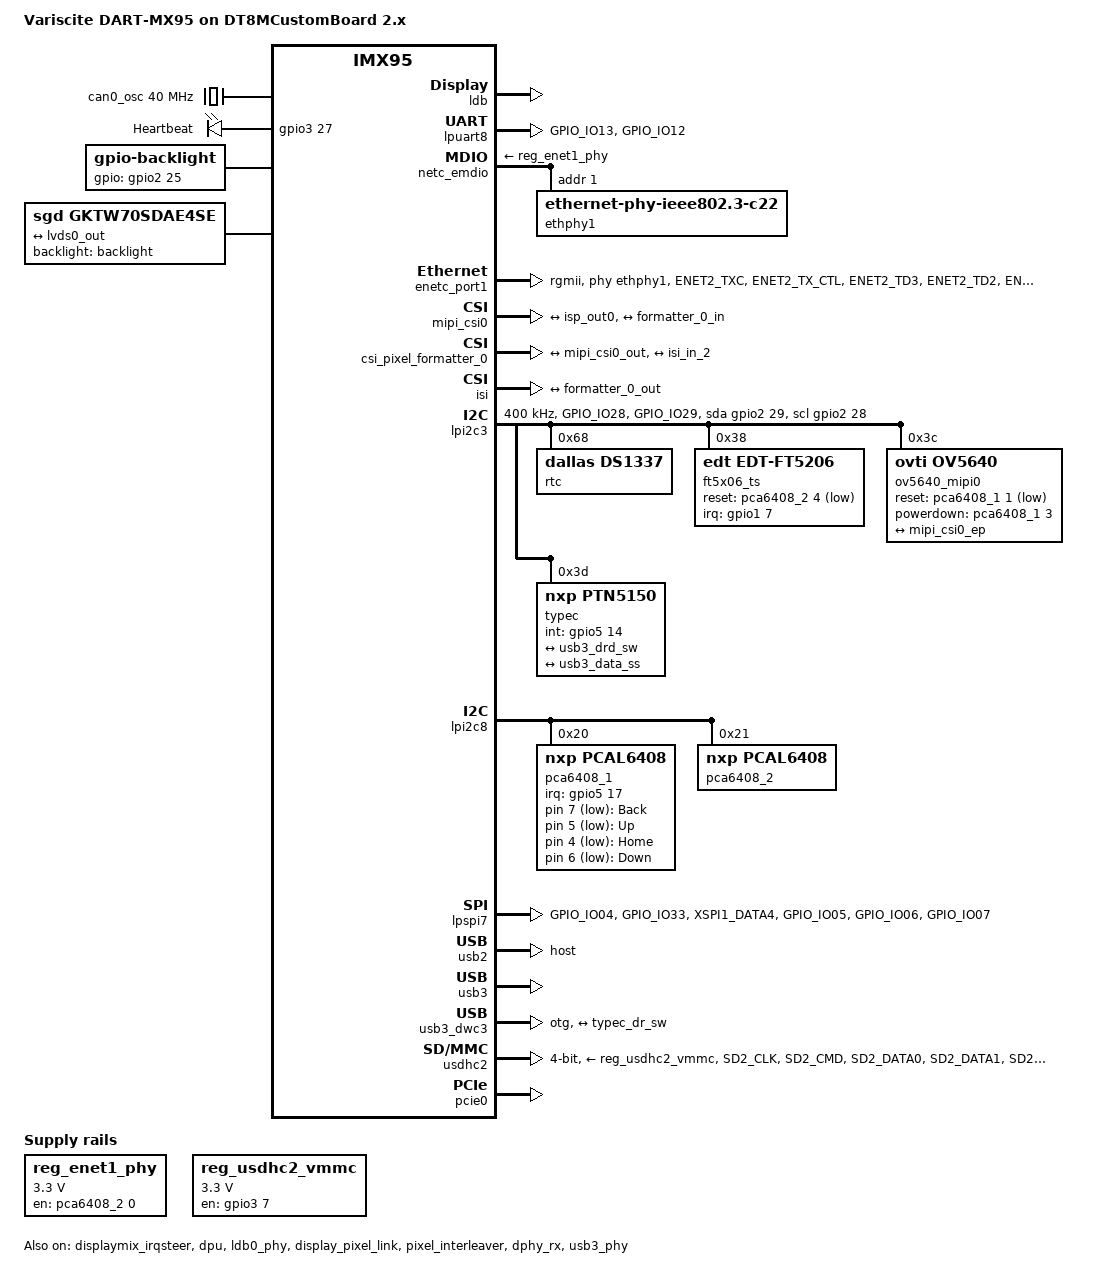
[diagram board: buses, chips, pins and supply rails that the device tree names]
// SPDX-License-Identifier: (GPL-2.0+ OR MIT)
/*
 * Copyright 2019 NXP
 * Copyright 2020-2021 Variscite Ltd.
 */

#include <dt-bindings/clock/fsl,imx95-clock.h>
#include "imx95-var-dart.dtsi"

/ {
	model = "Variscite DART-MX95 on DT8MCustomBoard 2.x";

	aliases {
		ethernet0 = &enetc_port0;
		ethernet1 = &enetc_port1;
	};

	chosen {
		stdout-path = &lpuart1;
	};

	clk_ov5640_fixed: clock {
		#clock-cells = <0>;
		compatible = "fixed-clock";
		clock-frequency = <24000000>;
	};

	can0_osc: can0_osc {
		compatible = "fixed-clock";
		#clock-cells = <0>;
		clock-frequency = <40000000>;
	};

	gpio-keys {
		compatible = "gpio-keys";
		status = "okay";

		back {
			label = "Back";
			linux,code = <KEY_BACK>;
			gpios = <&pca6408_1 7 GPIO_ACTIVE_LOW>;
			wakeup-source;
		};

		up {
			label = "Up";
			linux,code = <KEY_UP>;
			gpios = <&pca6408_1 5 GPIO_ACTIVE_LOW>;
			wakeup-source;
		};

		home {
			label = "Home";
			linux,code = <KEY_HOME>;
			gpios = <&pca6408_1 4 GPIO_ACTIVE_LOW>;
			wakeup-source;
		};

		down {
			label = "Down";
			linux,code = <KEY_DOWN>;
			gpios = <&pca6408_1 6 GPIO_ACTIVE_LOW>;
			wakeup-source;
		};
	};
#if 1
	gpio-leds {
		compatible = "gpio-leds";
		pinctrl-names = "default";
		pinctrl-0 = <&pinctrl_gpio_leds>;
		status = "okay";

		heartbeat {
			label = "Heartbeat";
			gpios = <&gpio3 27 GPIO_ACTIVE_HIGH>;
			linux,default-trigger = "heartbeat";
		};
	};
#else
	gpio-leds {
		compatible = "gpio-leds";
		pinctrl-names = "default";
		pinctrl-0 = <&pinctrl_captouch>;
		status = "okay";

		gpio1_io6 {
			label = "gpio1_io6";
			gpios = <&gpio1 6 GPIO_ACTIVE_LOW>;
			linux,default-trigger = "heartbeat";
		};
	};
#endif

	backlight: backlight {
		pinctrl-names = "default";
		pinctrl-0 = <&pinctrl_gpio_backlight>;
		compatible = "gpio-backlight";
		gpios = <&gpio2 25 GPIO_ACTIVE_HIGH>;
		default-on;
	};

	panel {
		compatible = "sgd,gktw70sdae4se", "panel-lvds";
		backlight = <&backlight>;
		width-mm = <153>;
		height-mm = <87>;
		label = "gktw70sdae4se";
		data-mapping = "jeida-24";
		status = "okay";

		panel-timing {
			clock-frequency = <74250000>;
			hactive = <800>;
			vactive = <480>;
			hback-porch = <40>;
			hfront-porch = <40>;
			vback-porch = <29>;
			vfront-porch = <13>;
			hsync-len = <48>;
			vsync-len = <3>;
			hsync-active = <0>;
			vsync-active = <0>;
			de-active = <1>;
		};
		port {
			panel_in: endpoint {
				remote-endpoint = <&lvds0_out>;
			};
		};
	};

	reg_enet1_phy: regulator-enet1-phy {
		compatible = "regulator-fixed";
		regulator-name = "enet1-phy";
		regulator-min-microvolt = <3300000>;
		regulator-max-microvolt = <3300000>;
		gpio = <&pca6408_2 0 GPIO_ACTIVE_HIGH>;
		enable-active-high;
		status = "okay";
	};

	reg_usdhc2_vmmc: regulator-usdhc2 {
		compatible = "regulator-fixed";
		pinctrl-names = "default";
		pinctrl-0 = <&pinctrl_reg_usdhc2_vmmc>;
		regulator-name = "VDD_SD2_3V3";
		regulator-min-microvolt = <3300000>;
		regulator-max-microvolt = <3300000>;
		gpio = <&gpio3 7 GPIO_ACTIVE_HIGH>;
		off-on-delay-us = <12000>;
		enable-active-high;
	};
};

&displaymix_irqsteer {
	status = "okay";
};

&dpu {
	status = "okay";
};

&ldb0_phy {
	status = "okay";
};

&display_pixel_link {
	status = "okay";
};

&ldb {
	#address-cells = <1>;
	#size-cells = <0>;
	assigned-clocks = <&scmi_clk IMX95_CLK_LDBPLL_VCO>,
			  <&scmi_clk IMX95_CLK_LDBPLL>;
	assigned-clock-rates = <4158000000>, <519750000>;
	status = "okay";

	channel@0 {
		#address-cells = <1>;
		#size-cells = <0>;
		status = "okay";
		reg = <0>;

		port@1 {
			reg = <1>;

			lvds0_out: endpoint {
				remote-endpoint = <&panel_in>;
			};
		};
	};
};

/* Header (J12.11, J12.13) */
&lpuart3 {
	pinctrl-names = "default";
	pinctrl-0 = <&pinctrl_uart3>;
	status = "disabled";
};

/* Header (J12.4, J12.6) */
&lpuart8 {
	pinctrl-names = "default";
	pinctrl-0 = <&pinctrl_uart8>;
	status = "okay";
};

&pixel_interleaver {
	#address-cells = <1>;
	#size-cells = <0>;
	status = "okay";

	channel@0 {
		reg = <0>;
		status = "okay";
	};
};

&netc_emdio {
	phy-supply = <&reg_enet1_phy>;
	status = "okay";

	ethphy1: ethernet-phy@1 {
		compatible = "ethernet-phy-ieee802.3-c22";
		eee-broken-1000t;
		reg = <1>;
	};
};

&enetc_port1 {
	pinctrl-names = "default";
	pinctrl-0 = <&pinctrl_enetc1>;
	phy-handle = <&ethphy1>;
	phy-mode = "rgmii";
	status = "okay";
};

/*
[    7.849497] scmi-pinctrl scmi_dev.6: pin_config_set op failed for pin 121
[    7.875350] clk: failed to reparent can1 to syspll1_pfd1_di: -13
Pin conflict with Cortex-M33 domain
Further investigations needed in the System Manager firmware
*/
&flexcan1 {
	pinctrl-names = "default";
	pinctrl-0 = <&pinctrl_flexcan1>;
	status = "disabled";
};

&dphy_rx {
	status = "okay";
};

&mipi_csi0 {
	status = "okay";

	ports {
		#address-cells = <1>;
		#size-cells = <0>;

		port@0 {
			reg = <0>;
			mipi_csi0_ep: endpoint {
				remote-endpoint = <&isp_out0>;
				data-lanes = <1 2 3 4>;
				clock-lanes = <0>;
			};
		};

		port@1 {
			reg = <1>;
				mipi_csi0_out: endpoint {
				remote-endpoint = <&formatter_0_in>;
			};
		};
	};
};

&csi_pixel_formatter_0 {
	status = "okay";

	ports {
		#address-cells = <1>;
		#size-cells = <0>;

		port@0 {
			reg = <0>;

			formatter_0_in: endpoint {
				remote-endpoint = <&mipi_csi0_out>;
			};
		};

		port@1 {
			reg = <1>;

			formatter_0_out: endpoint {
				remote-endpoint = <&isi_in_2>;
			};
		};
	};
};


&isi {
	status = "okay";

	ports {
		#address-cells = <1>;
		#size-cells = <0>;

		port@2 {
			reg = <2>;

			isi_in_2: endpoint {
				remote-endpoint = <&formatter_0_out>;
			};
		};
	};
};

&lpi2c3 {
	#address-cells = <1>;
	#size-cells = <0>;
	clock-frequency = <400000>;
	pinctrl-names = "default", "gpio", "sleep";
	pinctrl-0 = <&pinctrl_lpi2c3>;
	pinctrl-1 = <&pinctrl_lpi2c3_gpio>;
	pinctrl-2 = <&pinctrl_lpi2c3_gpio>;
	scl-gpios = <&gpio2 28 GPIO_ACTIVE_HIGH>;
	sda-gpios = <&gpio2 29 GPIO_ACTIVE_HIGH>;
	status = "okay";

	/* DS1337 RTC module */
	rtc@68 {
		compatible = "dallas,ds1337";
		reg = <0x68>;
		status = "okay";
	};

	/* Capacitive touch controller */
	ft5x06_ts: ft5x06_ts@38 {
		compatible = "edt,edt-ft5206";
		reg = <0x38>;
		reset-gpios = <&pca6408_2 4 GPIO_ACTIVE_LOW>;

#if 1
		pinctrl-names = "default";
		pinctrl-0 = <&pinctrl_captouch>;
		interrupt-parent = <&gpio1>;
		interrupts = <7 IRQ_TYPE_EDGE_FALLING>;
#endif
		touchscreen-size-x = <800>;
		touchscreen-size-y = <480>;
		touchscreen-inverted-x;
		touchscreen-inverted-y;
		wakeup-source;
		/*poll-interval = <20>;*/
		status = "okay";
	};

	ov5640_mipi0: ov5640_mipi0@3c {
		compatible = "ovti,ov5640";
		reg = <0x3c>;
		clocks = <&clk_ov5640_fixed>;
		clock-names = "xclk";
		assigned-clock-rates = <24000000>;
		csi_id = <0>;
		reset-gpios = <&pca6408_1 1 GPIO_ACTIVE_LOW>;
		powerdown-gpios = <&pca6408_1 3 GPIO_ACTIVE_HIGH>;
		mclk = <24000000>;
		mclk_source = <0>;
		mipi_csi;
		status = "okay";
#if 0
		ports {
			#address-cells = <1>;
			#size-cells = <0>;

			port@0 {
				reg = <0>;
			};

			port@1 {
				reg = <1>;
			};

			port@2 {
				reg = <2>;
				isp_out0: endpoint {
					remote-endpoint = <&mipi_csi0_ep>;
					data-lanes = <1 2>;
				};
			};
		};
#else

		port {
			isp_out0: endpoint {
				remote-endpoint = <&mipi_csi0_ep>;
				data-lanes = <1 2>;
				clock-lanes = <0>;
			};
		};
#endif
	};

	typec@3d {
		compatible = "nxp,ptn5150";
		pinctrl-names = "default";
		pinctrl-0 = <&pinctrl_ptn5150>;
		reg = <0x3d>;
		int-gpios =<&gpio5 14 GPIO_ACTIVE_HIGH>;
		irq-is-id-quirk;
		status ="okay";

		port {
			typec_dr_sw: endpoint {
				remote-endpoint = <&usb3_drd_sw>;
			};
		};

		typec_con: connector {
			compatible = "usb-c-connector";
			label = "USB-C";
			power-role = "dual";
			data-role = "dual";
			try-power-role = "sink";
			source-pdos = <PDO_FIXED(5000, 3000, PDO_FIXED_USB_COMM)>;
			sink-pdos = <PDO_FIXED(5000, 3000, PDO_FIXED_USB_COMM)
				     PDO_VAR(5000, 20000, 3000)>;
			op-sink-microwatt = <15000000>;
			self-powered;

			ports {
				#address-cells = <1>;
				#size-cells = <0>;

				port@1 {
					reg = <1>;
					typec_con_ss: endpoint {
						remote-endpoint = <&usb3_data_ss>;
					};
				};
			};
		};
	};
};

#if 0
&mipi_csi1 {
	status = "okay";

	ports {
		#address-cells = <1>;
		#size-cells = <0>;

		port@0 {
			reg = <0>;
			mipi_csi1_ep: endpoint {
				remote-endpoint = <&isp_out1>;
				data-lanes = <1 2>;
				clock-lanes = <0>;
			};
		};

		port@1 {
			reg = <1>;
				mipi_csi1_out: endpoint {
				remote-endpoint = <&isi_in_3>;
			};
		};
	};
};
#endif

&lpi2c8 {
	pca6408_1: gpio@20 {
		compatible = "nxp,pcal6408";
		standard-regs-fallback;
		reg = <0x20>;
		gpio-controller;
		#gpio-cells = <2>;
		pinctrl-names = "default";
		pinctrl-0 = <&pinctrl_pca6408>;
		interrupt-parent = <&gpio5>;
		interrupts = <17 IRQ_TYPE_EDGE_FALLING>;
	};

	pca6408_2: gpio@21 {
		compatible = "nxp,pcal6408";
		standard-regs-fallback;
		reg = <0x21>;
		gpio-controller;
		#gpio-cells = <2>;
	};
#if 0
	ov5640_mipi1: ov5640_mipi1@3c {
		compatible = "ovti,ov5640";
		reg = <0x3c>;
		clocks = <&clk_ov5640_fixed>;
		clock-names = "xclk";
		assigned-clock-rates = <24000000>;
		powerdown-gpios = <&pca6408_1 2 GPIO_ACTIVE_HIGH>;
		reset-gpios = <&pca6408_1 0 GPIO_ACTIVE_LOW>;
		status = "okay";

		ports {
			#address-cells = <1>;
			#size-cells = <0>;

			port@0 {
				reg = <0>;
			};

			port@1 {
				reg = <1>;
			};

			port@2 {
				reg = <2>;
				isp_out1: endpoint {
					remote-endpoint = <&mipi_csi1_ep>;
					data-lanes = <1 2>;
				};
			};
		};
	};
#endif
};
#if 0
&lpspi7 {
	fsl,spi-num-chipselects = <3>;
	pinctrl-names = "default", "sleep";
	pinctrl-0 = <&pinctrl_lpspi7>;
	pinctrl-1 = <&pinctrl_lpspi7>;
	cs-gpios = <&gpio2 14 GPIO_ACTIVE_LOW>,
		   <&gpio5 13 GPIO_ACTIVE_LOW>,
		   <&gpio5 4 GPIO_ACTIVE_LOW>;
	status = "okay";

	/* Resistive touch controller */
	ads7846@0 {
		compatible = "ti,ads7846";
		reg = <0>;
		pinctrl-names = "default";
		pinctrl-0 = <&pinctrl_restouch>;
		interrupt-parent = <&gpio2>;
		interrupts = <24 IRQ_TYPE_EDGE_FALLING>;
		spi-max-frequency = <1500000>;
		pendown-gpio = <&gpio2 24 GPIO_ACTIVE_LOW>;
		ti,x-min = /bits/ 16 <125>;
		ti,x-max = /bits/ 16 <4008>;
		ti,y-min = /bits/ 16 <282>;
		ti,y-max = /bits/ 16 <3864>;
		ti,x-plate-ohms = /bits/ 16 <180>;
		ti,pressure-max = /bits/ 16 <255>;
		ti,debounce-max = /bits/ 16 <10>;
		ti,debounce-tol = /bits/ 16 <3>;
		ti,debounce-rep = /bits/ 16 <1>;
		ti,settle-delay-usec = /bits/ 16 <150>;
		ti,keep-vref-on;
		wakeup-source;
		status = "okay";
	};

	can0: can@1 {
		compatible = "microchip,mcp251xfd";
		reg = <1>;
		pinctrl-names = "default";
		pinctrl-0 = <&pinctrl_can>;
		interrupts-extended = <&gpio5 15 IRQ_TYPE_LEVEL_LOW>;
		microchip,rx-int-gpios = <&gpio2 22 GPIO_ACTIVE_LOW>;
		clocks = <&can0_osc>;
/*
with spi-max-frequency = <20000000>;
[    7.970256] fsl_lpspi 42710000.spi: per-clk should be at least two times of transfer speed
[    7.981592] mcp251xfd spi0.1: SPI transfer failed: -22
[    7.998281] fsl_lpspi 42710000.spi: per-clk should be at least two times of transfer speed
[    7.998298] mcp251xfd spi0.1: SPI transfer failed: -22
[    7.998336] mcp251xfd spi0.1: error -EINVAL: Failed to detect MCP251xFD.
[    8.048280] mcp251xfd: probe of spi0.1 failed with error -22

root@imx95-var-dart:~# cat /sys/kernel/debug/clk/clk_summary | grep lpspi
    lpspi4                            0        0        0    50000000          0     0  50000         Y
    lpspi3                            0        0        0    50000000          0     0  50000         Y
    lpspi2                            0        0        0    50000000          0     0  50000         Y
    lpspi1                            0        0        0    50000000          0     0  50000         Y
    lpspi8                            0        0        0    24000000          0     0  50000         Y
    lpspi7                            0        0        0    24000000          0     0  50000         Y
    lpspi6                            0        0        0    24000000          0     0  50000         Y
    lpspi5                            0        0        0    24000000          0     0  50000         Y

*/
		spi-max-frequency = <12000000>;
		status = "okay";
	};

	spidev0: spi@2 {
		reg = <2>;
		compatible = "lwn,bk4";
		spi-max-frequency = <1000000>;
	};
};
#else
&lpspi7 {
	fsl,spi-num-chipselects = <1>;
	pinctrl-names = "default";
	pinctrl-0 = <&pinctrl_lpspi7>;
	cs-gpios = <&gpio5 4 GPIO_ACTIVE_LOW>;	/*the other cs gpio make kernel hangs!*/
	status = "okay";
};
#endif

&usb2 {
	dr_mode = "host";
	hnp-disable;
	srp-disable;
	adp-disable;
	disable-over-current;
	status = "okay";
};

&usb3 {
	status = "okay";
};

&usb3_phy {
	status = "okay";

	lane-swapp-disable-quirk;
	port {
		usb3_data_ss: endpoint {
			remote-endpoint = <&typec_con_ss>;
		};
	};
};

&usb3_dwc3 {
	dr_mode = "otg";
	hnp-disable;
	srp-disable;
	adp-disable;
	usb-role-switch;
	role-switch-default-mode = "none";
	snps,dis-u1-entry-quirk;
	snps,dis-u2-entry-quirk;
	status = "okay";

	port {
		usb3_drd_sw: endpoint {
			remote-endpoint = <&typec_dr_sw>;
		};
	};
};

&scmi_iomuxc {
	pinctrl_captouch: captouchgrp {
		fsl,pins = <
			IMX95_PAD_UART2_TXD__AONMIX_TOP_GPIO1_IO_BIT7		0x31e
			IMX95_PAD_UART2_RXD__AONMIX_TOP_GPIO1_IO_BIT6		0x31e
		>;
	};

	pinctrl_can: cangrp {
		fsl,pins = <
			IMX95_PAD_GPIO_IO35__GPIO5_IO_BIT15			0x31e
			IMX95_PAD_GPIO_IO22__GPIO2_IO_BIT22			0x31e
		>;
	};

	pinctrl_lpi2c3: lpi2c3grp {
		fsl,pins = <
			IMX95_PAD_GPIO_IO28__LPI2C3_SDA			0x40000b9e
			IMX95_PAD_GPIO_IO29__LPI2C3_SCL			0x40000b9e
		>;
	};

	pinctrl_lpi2c3_gpio: lpi2c3grp-gpio {
		fsl,pins = <
			IMX95_PAD_GPIO_IO28__GPIO2_IO_BIT28		0x31e
			IMX95_PAD_GPIO_IO29__GPIO2_IO_BIT29		0x31e
		>;
	};

	pinctrl_lpspi7: lpspi7grp {
		fsl,pins = <
			IMX95_PAD_GPIO_IO04__GPIO2_IO_BIT4		0x3fe		/* j16.4 ADS7846 */
			IMX95_PAD_GPIO_IO33__GPIO5_IO_BIT13		0x3fe		/* j14.4 MCP2518FDT */
			IMX95_PAD_XSPI1_DATA4__GPIO5_IO_BIT4		0x3fe		/* j25.2 spidev */
			/*
			ADC_IN4 pin pin 30 J3 DART-MX95 
			*/
			IMX95_PAD_GPIO_IO05__LPSPI7_SIN		0x3fe
			IMX95_PAD_GPIO_IO06__LPSPI7_SOUT	0x3fe
			IMX95_PAD_GPIO_IO07__LPSPI7_SCK		0x3fe
		>;
	};

	pinctrl_enetc1: enetc1grp {
		fsl,pins = <
			IMX95_PAD_ENET2_TXC__NETCMIX_TOP_ETH1_RGMII_TX_CLK	0x57e
			IMX95_PAD_ENET2_TX_CTL__NETCMIX_TOP_ETH1_RGMII_TX_CTL	0x57e
			IMX95_PAD_ENET2_TD3__NETCMIX_TOP_ETH1_RGMII_TD3		0x57e
			IMX95_PAD_ENET2_TD2__NETCMIX_TOP_ETH1_RGMII_TD2		0x57e
			IMX95_PAD_ENET2_TD1__NETCMIX_TOP_ETH1_RGMII_TD1		0x57e
			IMX95_PAD_ENET2_TD0__NETCMIX_TOP_ETH1_RGMII_TD0		0x57e
			IMX95_PAD_ENET2_RXC__NETCMIX_TOP_ETH1_RGMII_RX_CLK	0x57e
			IMX95_PAD_ENET2_RX_CTL__NETCMIX_TOP_ETH1_RGMII_RX_CTL	0x57e
			IMX95_PAD_ENET2_RD0__NETCMIX_TOP_ETH1_RGMII_RD0		0x57e
			IMX95_PAD_ENET2_RD1__NETCMIX_TOP_ETH1_RGMII_RD1		0x57e
			IMX95_PAD_ENET2_RD2__NETCMIX_TOP_ETH1_RGMII_RD2		0x57e
			IMX95_PAD_ENET2_RD3__NETCMIX_TOP_ETH1_RGMII_RD3		0x57e
		>;
	};

	pinctrl_flexcan1: flexcan1grp {
		fsl,pins = <
			IMX95_PAD_PDM_CLK__AONMIX_TOP_CAN1_TX		0x39e
			IMX95_PAD_PDM_BIT_STREAM0__AONMIX_TOP_CAN1_RX	0x39e
		>;
	};

	pinctrl_pca6408: pca6408grp {
		fsl,pins = <
			IMX95_PAD_GPIO_IO37__GPIO5_IO_BIT17			0x31e
		>;
	};

	pinctrl_gpio_leds: ledgrp {
		fsl,pins = <
			IMX95_PAD_CCM_CLKO2__GPIO3_IO_BIT27			0x31e
		>;
	};

	pinctrl_gpio_backlight: backlightgrp {
		fsl,pins = <
			IMX95_PAD_GPIO_IO25__GPIO2_IO_BIT25			0x31e
		>;
	};
	pinctrl_reg_usdhc2_vmmc: regusdhc2vmmcgrp {
		fsl,pins = <
			IMX95_PAD_SD2_RESET_B__GPIO3_IO_BIT7			0x31e
		>;
	};

	pinctrl_restouch: restouchgrp {
		fsl,pins = <
			IMX95_PAD_GPIO_IO24__GPIO2_IO_BIT24			0x31e
		>;
	};

	pinctrl_uart3: uart3grp {
		fsl,pins = <
			IMX95_PAD_GPIO_IO15__LPUART3_RX			0x31e
			IMX95_PAD_GPIO_IO14__LPUART3_TX			0x31e
		>;
	};

	pinctrl_uart8: uart8grp {
		fsl,pins = <
			IMX95_PAD_GPIO_IO13__LPUART8_RX			0x31e
			IMX95_PAD_GPIO_IO12__LPUART8_TX			0x31e
		>;
	};

	pinctrl_usdhc2_gpio: usdhc2gpiogrp {
		fsl,pins = <
			IMX95_PAD_SD2_CD_B__GPIO3_IO_BIT0			0x31e
		>;
	};

	pinctrl_usdhc2: usdhc2grp {
		fsl,pins = <
			IMX95_PAD_SD2_CLK__USDHC2_CLK				0x158e
			IMX95_PAD_SD2_CMD__USDHC2_CMD				0x138e
			IMX95_PAD_SD2_DATA0__USDHC2_DATA0			0x138e
			IMX95_PAD_SD2_DATA1__USDHC2_DATA1			0x138e
			IMX95_PAD_SD2_DATA2__USDHC2_DATA2			0x138e
			IMX95_PAD_SD2_DATA3__USDHC2_DATA3			0x138e
			IMX95_PAD_SD2_VSELECT__USDHC2_VSELECT			0x51e
		>;
	};

	pinctrl_usdhc2_100mhz: usdhc2-100mhzgrp {
		fsl,pins = <
			IMX95_PAD_SD2_CLK__USDHC2_CLK				0x158e
			IMX95_PAD_SD2_CMD__USDHC2_CMD				0x138e
			IMX95_PAD_SD2_DATA0__USDHC2_DATA0			0x138e
			IMX95_PAD_SD2_DATA1__USDHC2_DATA1			0x138e
			IMX95_PAD_SD2_DATA2__USDHC2_DATA2			0x138e
			IMX95_PAD_SD2_DATA3__USDHC2_DATA3			0x138e
			IMX95_PAD_SD2_VSELECT__USDHC2_VSELECT			0x51e
		>;
	};

	pinctrl_usdhc2_200mhz: usdhc2-200mhzgrp {
		fsl,pins = <
			IMX95_PAD_SD2_CLK__USDHC2_CLK				0x15fe
			IMX95_PAD_SD2_CMD__USDHC2_CMD				0x13fe
			IMX95_PAD_SD2_DATA0__USDHC2_DATA0			0x13fe
			IMX95_PAD_SD2_DATA1__USDHC2_DATA1			0x13fe
			IMX95_PAD_SD2_DATA2__USDHC2_DATA2			0x13fe
			IMX95_PAD_SD2_DATA3__USDHC2_DATA3			0x13fe
			IMX95_PAD_SD2_VSELECT__USDHC2_VSELECT			0x51e
		>;
	};

	pinctrl_ptn5150: ptn5150grp {
		fsl,pins = <
			IMX95_PAD_GPIO_IO34__GPIO5_IO_BIT14			0x31e
		>;
	};
};

&usdhc2 {
	pinctrl-names = "default","state_100mhz","state_200mhz","sleep";
	pinctrl-0 = <&pinctrl_usdhc2>, <&pinctrl_usdhc2_gpio>;
	pinctrl-1 = <&pinctrl_usdhc2_100mhz>, <&pinctrl_usdhc2_gpio>;
	pinctrl-2 = <&pinctrl_usdhc2_200mhz>, <&pinctrl_usdhc2_gpio>;
	pinctrl-3 = <&pinctrl_usdhc2>, <&pinctrl_usdhc2_gpio>;
	cd-gpios = <&gpio3 00 GPIO_ACTIVE_LOW>;
	vmmc-supply = <&reg_usdhc2_vmmc>;
	bus-width = <4>;
	status = "okay";
};

&pcie0 {
	fsl,refclk-pad-mode = <IMX8_PCIE_REFCLK_PAD_INPUT>;
	status = "okay";
};

#if 1
&gpio1 {
	status = "okay";
};
#endif
